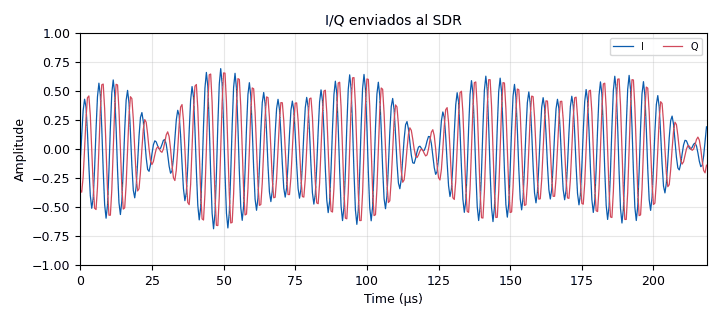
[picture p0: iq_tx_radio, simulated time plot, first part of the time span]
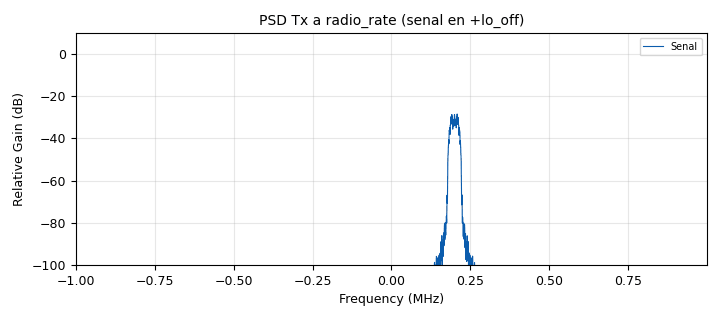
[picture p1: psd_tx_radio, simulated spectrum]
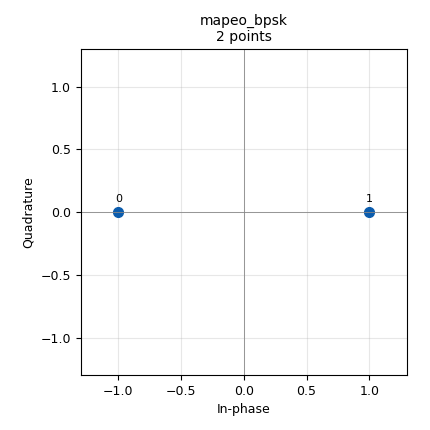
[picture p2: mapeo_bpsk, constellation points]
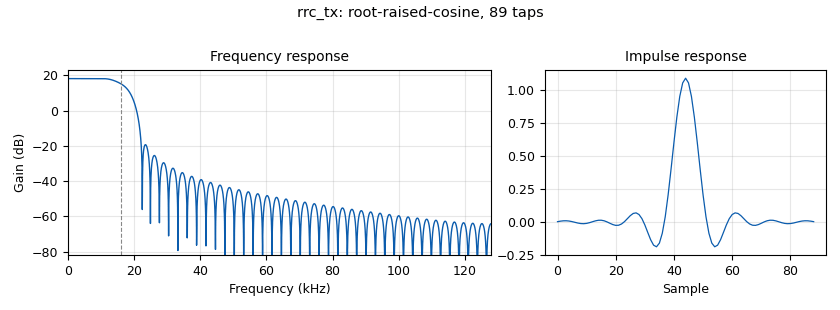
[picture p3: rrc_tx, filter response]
options:
  parameters:
    author: Grupo 1
    comment: 'Copia para hardware del transmisor simulado. Sin Throttle: el SDR fija el ritmo. bb_rate = 256 kS/s -> resampler -> radio_rate. Prueba primero por cable con atenuacion.'
    description: Transmisor del proyecto conectado a hardware SDR
    generate_options: qt_gui
    id: Fase3_HackRF_TX_BPSK_Grupo1
    output_language: python
    title: Fase 3 - TX BPSK con HackRF One (Osmocom Sink) - Grupo 1
  states: {}

blocks:
- name: M
  id: variable
  parameters:
    value: len(tabla_de_verdad_constelacion)
  states: {}
- name: Rb
  id: variable
  parameters:
    comment: Rb = 32 kb/s
    value: Rs*bps
  states: {}
- name: Rs
  id: variable
  parameters:
    comment: Tasa de simbolos [sym/s]
    value: '32000'
  states: {}
- name: Sps
  id: variable
  parameters:
    comment: Muestras por simbolo
    value: '8'
  states: {}
- name: adapta_tasa
  id: rational_resampler_xxx
  parameters:
    comment: bb_rate -> radio_rate
    interp: interp
    decim: decim
    type: ccc
  states: {}
- name: beta
  id: variable
  parameters:
    comment: Roll-off RRC
    value: '0.35'
  states: {}
- name: bps
  id: variable
  parameters:
    value: int(math.log(M,2))
  states: {}
- name: cod_diferencial
  id: digital_diff_encoder_bb
  parameters:
    comment: 'Codificacion diferencial: resuelve la ambiguedad de 180 grados del lazo de portadora'
    modulus: '2'
    coding: digital.DIFF_DIFFERENTIAL
  states: {}
- name: const_bpsk
  id: variable_constellation
  parameters:
    const_points: tabla_de_verdad_constelacion
    dims: '1'
    normalization: digital.constellation.AMPLITUDE_NORMALIZATION
    precision: '8'
    rot_sym: '2'
    sym_map: '[0, 1]'
    type: calcdist
  states: {}
- name: decim
  id: variable
  parameters:
    value: '16'
  states: {}
- name: desplaza_lo
  id: freq_xlating_fir_filter_xxx
  parameters:
    comment: Senal en +lo_off; LO del radio en fc - lo_off -> RF en fc
    center_freq: '-lo_off'
    decim: '1'
    samp_rate: radio_rate
    taps: '[1]'
    type: ccc
  states: {}
- name: fc
  id: variable
  parameters:
    comment: Frecuencia central RF usada en la practica de laboratorio (960 MHz). Confirmar con el docente.
    value: 960e6
  states: {}
- name: fuente_bits
  id: digital_glfsr_source_x
  parameters:
    comment: PRBS-15 (secuencia conocida, repetible en Tx y Rx)
    type: byte
    degree: '15'
    mask: '0'
    repeat: 'True'
    seed: '1'
  states: {}
- name: hackrf_sink
  id: osmosdr_sink
  parameters:
    comment: gain0 = 0 -> amplificador RF de 14 dB apagado (seguro por cable)
    args: '"hackrf=0"'
    sample_rate: radio_rate
    freq0: fc - lo_off
    gain0: '0'
    if_gain0: tx_vga
    bb_gain0: '20'
    ant0: '""'
    sync: none
    type: fc32
  states: {}
- name: import_0
  id: import
  parameters:
    imports: import math
  states: {}
- name: interp
  id: variable
  parameters:
    comment: radio_rate = samp_rate * interp / decim
    value: '125'
  states: {}
- name: iq_tx_radio
  id: qtgui_time_sink_x
  parameters:
    grid: 'True'
    label1: I
    label2: Q
    name: '"I/Q enviados al SDR"'
    size: '2048'
    srate: radio_rate
    type: complex
  states: {}
- name: lo_off
  id: variable
  parameters:
    comment: Desplazamiento del LO para alejar la senal de la espiga DC
    value: 200e3
  states: {}
- name: mapeo_bpsk
  id: digital_chunks_to_symbols_xx
  parameters:
    dimension: '1'
    in_type: byte
    out_type: complex
    symbol_table: tabla_de_verdad_constelacion
  states: {}
- name: periodo_imp
  id: variable
  parameters:
    comment: 1 impulso cada 256 muestras = 1 ms
    value: '256'
  states: {}
- name: psd_tx_radio
  id: qtgui_freq_sink_x
  parameters:
    average: '0.2'
    bw: radio_rate
    fc: '0'
    fftsize: '4096'
    grid: 'True'
    label1: Senal
    name: '"PSD Tx a radio_rate (senal en +lo_off)"'
    type: complex
    ymin: '-100'
  states: {}
- name: radio_rate
  id: variable
  parameters:
    comment: Tasa de muestreo del SDR
    value: 2e6
  states: {}
- name: rrc_rx_taps
  id: variable
  parameters:
    comment: 'Filtro acoplado: RRC normalizado por su energia -> pico de decision = +-1'
    value: '[t/sum(x*x for x in rrc_tx_taps) for t in rrc_tx_taps]'
  states: {}
- name: rrc_tx
  id: interp_fir_filter_xxx
  parameters:
    comment: Conformacion de pulso RRC (Tx)
    interp: Sps
    taps: rrc_tx_taps
    type: ccf
  states: {}
- name: rrc_tx_taps
  id: variable_rrc_filter_taps
  parameters:
    comment: 'RRC Tx: ganancia Sps -> nivel de simbolo ~1 (GNU Radio fuerza 89 taps impares)'
    gain: Sps
    samp_rate: samp_rate
    sym_rate: Rs
    alpha: beta
    ntaps: span*Sps
  states: {}
- name: samp_rate
  id: variable
  parameters:
    comment: bb_rate = Rs*Sps = 256 kS/s
    value: Rs*Sps
  states: {}
- name: span
  id: variable
  parameters:
    comment: Longitud del RRC en simbolos
    value: '11'
  states: {}
- name: tabla_de_verdad_constelacion
  id: variable
  parameters:
    comment: 'BPSK: bit 0 -> -1, bit 1 -> +1'
    value: (-1+0j, 1+0j)
  states: {}
- name: tx_amp
  id: variable_qtgui_range
  parameters:
    label: Amplitud digital Tx (pico < 1)
    start: '0.01'
    step: '0.01'
    stop: '1.0'
    value: '0.5'
  states: {}
- name: tx_escala
  id: blocks_multiply_const_vxx
  parameters:
    comment: 'Evita saturar el DAC: |x| < 1'
    const: tx_amp
    type: complex
  states: {}
- name: tx_vga
  id: variable_qtgui_range
  parameters:
    label: HackRF TX IF/VGA gain (0-47 dB)
    start: '0'
    step: '1'
    stop: '47'
    value: '20'
  states: {}

connections:
- [fuente_bits, '0', cod_diferencial, '0']
- [cod_diferencial, '0', mapeo_bpsk, '0']
- [mapeo_bpsk, '0', rrc_tx, '0']
- [rrc_tx, '0', tx_escala, '0']
- [tx_escala, '0', adapta_tasa, '0']
- [adapta_tasa, '0', desplaza_lo, '0']
- [desplaza_lo, '0', hackrf_sink, '0']
- [desplaza_lo, '0', psd_tx_radio, '0']
- [desplaza_lo, '0', iq_tx_radio, '0']

metadata:
  file_format: 1
  grc_version: 3.10.12.0
